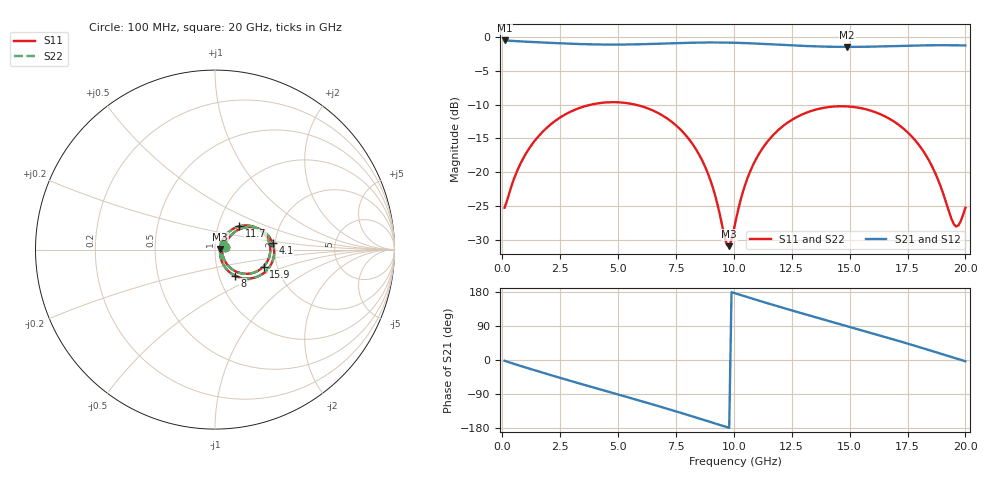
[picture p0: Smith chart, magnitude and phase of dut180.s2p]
! Touchstone file exported from HFSS 2026.1.0
!  File:  C:/ffzhzh/LocalFiles/Ansys_Project_Files/temp_train_TSV_RDL_180_1783056940_17544.aedt
!  Generated:  01:51:52 PM Jul  3, 2026
!  Design:  TSV_RDL
!  Project:  temp_train_TSV_RDL_180_1783056940_17544
! Variables:
!  h_bsmrdl = 3.09um
!  h_ox = 20um
!  h_rdl = 5um
!  h_sub = 51.99um
!  h_tmrdl = 2.01um
!  h_tsv = 51.99um
!  h_via = 3um
!  l_bsmrdl = 982.87um
!  l_sub = 6467.47um
!  l_tmrdl = 751.65um
!  m_sub = 200um
!  pitch = 26.8um
!  r_tsv = 2.2um
!  s_tmrdl = 10um
!  w_bsmrdl = 18.61um
!  w_sub = 500um
!  w_tmrdl = 18.81um
!  x_tsv_center1 = 761.055um
!  x_tsv_center2 = 1762.535um
!  x_tsv_center3 = 2532.995um
!  x_tsv_center4 = 3534.475um
!  x_tsv_center5 = 4304.935um
!  x_tsv_center6 = 5306.415um
# GHz S MA R 50.000000
! Terminal data exported
! Port[1] = TM_RDL1_1_T1
! Port[2] = TM_RDL5_1_T1
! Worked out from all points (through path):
!   200 points, 100 MHz to 20 GHz, reference 50 ohm
!   highest |S21| = -0.47 dB at 100 MHz (marker M1); lowest = -1.4 dB at 14.9 GHz (marker M2)
!   group delay of S21, straight-line fit = 50.2 ps
!   lowest |S11| = -31.0 dB at 9.8 GHz (marker M3), VSWR 1.06, Z = 52.9 + j0.167 ohm
!   |S11| at or under -10 dB: start of sweep to 3.814 GHz; 5.765 GHz to end of sweep
!   |S22| runs from -30.8 to -9.6 dB; largest |S21 - S12| = 1.6e-14
!   S11 on the Smith chart (normalised r, x): 100 MHz: 1.11, +0.03; 4.1 GHz: 1.94, +0.15; 8 GHz: 1.19, -0.36; 11.7 GHz: 1.26, +0.34; 15.9 GHz: 1.70, -0.35; 20 GHz: 1.09, +0.07
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0.1  0.05451 13.6  0.9474 -2.1  0.9474 -2.1  0.05451 13.6
! Gamma 0 0 0 0
! Port Impedance 50 0 50 0
0.7  0.1077 40.9  0.934 -14.0  0.934 -14.0  0.1077 40.9
1.4  0.1708 40.4  0.9208 -27.1  0.9208 -27.1  0.1708 40.4
3.5  0.3058 15.0  0.8896 -64.9  0.8896 -64.9  0.3058 15.0
4.1  0.3233 6.2  0.8847 -75.4  0.8847 -75.4  0.3233 6.2
5.5  0.3229 -15.1  0.8847 -99.7  0.8847 -99.7  0.3229 -15.0
6.8  0.2705 -35.2  0.8967 -122.8  0.8967 -122.8  0.2705 -35.2
8  0.1812 -53.0  0.91 -144.9  0.91 -144.9  0.1812 -52.8
8.9  0.09586 -60.9  0.9153 -161.9  0.9153 -161.9  0.09602 -60.6
9.7  0.02892 -16.5  0.9136 -177.2  0.9136 -177.2  0.02949 -16.2
9.8  0.02829 3.2  0.913 -179.1  0.913 -179.1  0.02887 3.0
10.1  0.0452 42.0  0.9104 175.2  0.9104 175.2  0.04556 41.4
10.8  0.1102 53.1  0.9013 161.9  0.9013 161.9  0.1103 52.8
11.7  0.1887 43.7  0.8858 145.3  0.8858 145.3  0.1887 43.5
13.4  0.2865 18.6  0.8581 115.1  0.8581 115.1  0.2865 18.5
14.9  0.3074 -4.1  0.8488 89.3  0.8488 89.3  0.3073 -4.3
15.9  0.2864 -19.2  0.8521 72.0  0.8521 72.0  0.2863 -19.3
16.7  0.2501 -31.0  0.8586 57.8  0.8586 57.8  0.25 -31.1
18.3  0.1331 -49.9  0.8719 28.6  0.8719 28.6  0.133 -50.1
19.5  0.04122 -14.7  0.8727 6.0  0.8727 6.0  0.04087 -14.8
19.7  0.04034 9.8  0.8717 2.3  0.8717 2.3  0.04002 10.0
20  0.05442 36.5  0.8696 -3.4  0.8696 -3.4  0.05422 36.8
